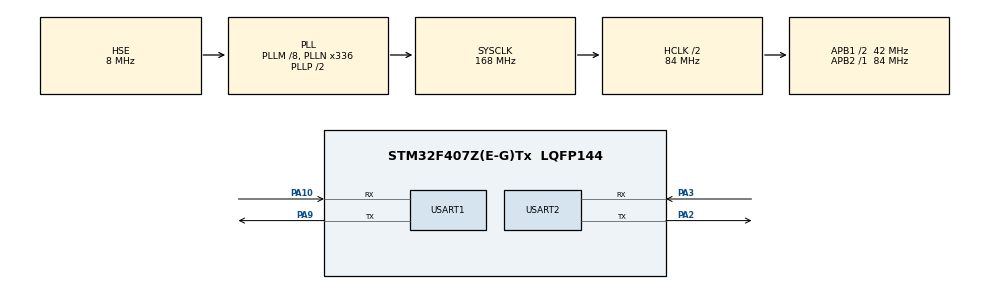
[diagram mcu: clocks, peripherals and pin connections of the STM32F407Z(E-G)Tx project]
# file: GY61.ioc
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Mcu.Family=STM32F4
Mcu.Name=STM32F407Z(E-G)Tx
Mcu.Package=LQFP144
NVIC.PriorityGroup=NVIC_PRIORITYGROUP_4
NVIC.USART2_IRQn=true\:0\:0\:false\:false\:true\:true\:true
PA10.Mode=Asynchronous
PA10.Signal=USART1_RX
PA2.Mode=Asynchronous
PA2.Signal=USART2_TX
PA3.Mode=Asynchronous
PA3.Signal=USART2_RX
PA9.Mode=Asynchronous
PA9.Signal=USART1_TX
PH0-OSC_IN.Mode=HSE-External-Oscillator
PH0-OSC_IN.Signal=RCC_OSC_IN
PH1-OSC_OUT.Mode=HSE-External-Oscillator
PH1-OSC_OUT.Signal=RCC_OSC_OUT
ProjectManager.HeapSize=0x200
ProjectManager.StackSize=0x400
ProjectManager.TargetToolchain=MDK-ARM V5.27
RCC.48MHZClocksFreq_Value=84000000
RCC.AHBCLKDivider=RCC_SYSCLK_DIV2
RCC.AHBFreq_Value=84000000
RCC.APB1CLKDivider=RCC_HCLK_DIV2
RCC.APB1Freq_Value=42000000
RCC.APB1TimFreq_Value=84000000
RCC.APB2Freq_Value=84000000
RCC.APB2TimFreq_Value=84000000
RCC.CortexFreq_Value=84000000
RCC.HCLKFreq_Value=84000000
RCC.HSE_VALUE=8000000
RCC.HSI_VALUE=16000000
RCC.LSE_VALUE=32768
RCC.PLLM=8
RCC.PLLN=336
RCC.PLLSourceVirtual=RCC_PLLSOURCE_HSE
RCC.SYSCLKFreq_VALUE=168000000
RCC.SYSCLKSource=RCC_SYSCLKSOURCE_PLLCLK
RCC.VCOOutputFreq_Value=336000000
USART1.VirtualMode=VM_ASYNC
USART2.VirtualMode=VM_ASYNC
board=custom

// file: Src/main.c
/* USER CODE BEGIN Header */
/**
  ******************************************************************************
  * @file           : main.c
  * @brief          : Main program body
  ******************************************************************************
  * @attention
  *
  * <h2><center>&copy; Copyright (c) 2020 STMicroelectronics.
  * All rights reserved.</center></h2>
  *
  * This software component is licensed by ST under BSD 3-Clause license,
  * the "License"; You may not use this file except in compliance with the
  * License. You may obtain a copy of the License at:
  *                        opensource.org/licenses/BSD-3-Clause
  *
  ******************************************************************************
  */
/* USER CODE END Header */

#include "main.h"
#include "usart.h"
#include "gpio.h"

/* USER CODE BEGIN Includes */
#include "JY61.h"
/* USER CODE END Includes */

/* USER CODE BEGIN PTD */
uint8_t aRxBuffer = 0;		//接收缓冲计数

/* USER CODE END PTD */

void SystemClock_Config(void);

int main(void)
{
  /* USER CODE BEGIN 1 */
	unsigned char i = 0;
  /* USER CODE END 1 */

  /* MCU Configuration--------------------------------------------------------*/

  /* Reset of all peripherals, Initializes the Flash interface and the Systick. */
  HAL_Init();

  /* Configure the system clock */
  SystemClock_Config();

  /* Initialize all configured peripherals */
  MX_GPIO_Init();
  MX_USART1_UART_Init();
  MX_USART2_UART_Init();
  /* USER CODE BEGIN 2 */
	HAL_UART_Receive_IT(&huart2, (uint8_t *)&aRxBuffer, 1);
	HAL_Delay(2000);
  /* USER CODE END 2 */

  /* Infinite loop */
  /* USER CODE BEGIN WHILE */
  while (1)
  {
		HAL_Delay(1000);
		i++;
		if(i>10)
		{
			i = 0;
			Send_CMD_Calibration();
		}
		printf("-----------------------------------\r\n");
		printf("Acc:%.3f %.3f %.3f\r\n",(float)stcAcc.a[0]/32768*16,(float)stcAcc.a[1]/32768*16,(float)stcAcc.a[2]/32768*16);
		HAL_Delay(10);
		//输出角速度
		printf("Gyro:%.3f %.3f %.3f\r\n",(float)stcGyro.w[0]/32768*2000,(float)stcGyro.w[1]/32768*2000,(float)stcGyro.w[2]/32768*2000);
		HAL_Delay(10);
		//输出角度
		printf("Angle:%.3f %.3f %.3f\r\n",(float)stcAngle.Angle[0]/32768*180,(float)stcAngle.Angle[1]/32768*180,(float)stcAngle.Angle[2]/32768*180);
    /* USER CODE END WHILE */

  }
}

void SystemClock_Config(void)
{
  RCC_OscInitTypeDef RCC_OscInitStruct = {0};
  RCC_ClkInitTypeDef RCC_ClkInitStruct = {0};

  /** Configure the main internal regulator output voltage
  */
  __HAL_RCC_PWR_CLK_ENABLE();
  __HAL_PWR_VOLTAGESCALING_CONFIG(PWR_REGULATOR_VOLTAGE_SCALE1);
  /** Initializes the CPU, AHB and APB busses clocks
  */
  RCC_OscInitStruct.OscillatorType = RCC_OSCILLATORTYPE_HSE;
  RCC_OscInitStruct.HSEState = RCC_HSE_ON;
  RCC_OscInitStruct.PLL.PLLState = RCC_PLL_ON;
  RCC_OscInitStruct.PLL.PLLSource = RCC_PLLSOURCE_HSE;
  RCC_OscInitStruct.PLL.PLLM = 8;
  RCC_OscInitStruct.PLL.PLLN = 336;
  RCC_OscInitStruct.PLL.PLLP = RCC_PLLP_DIV2;
  RCC_OscInitStruct.PLL.PLLQ = 4;
  if (HAL_RCC_OscConfig(&RCC_OscInitStruct) != HAL_OK)
  {
    Error_Handler();
  }
  /** Initializes the CPU, AHB and APB busses clocks
  */
  RCC_ClkInitStruct.ClockType = RCC_CLOCKTYPE_HCLK|RCC_CLOCKTYPE_SYSCLK
                              |RCC_CLOCKTYPE_PCLK1|RCC_CLOCKTYPE_PCLK2;
  RCC_ClkInitStruct.SYSCLKSource = RCC_SYSCLKSOURCE_PLLCLK;
  RCC_ClkInitStruct.AHBCLKDivider = RCC_SYSCLK_DIV2;
  RCC_ClkInitStruct.APB1CLKDivider = RCC_HCLK_DIV2;
  RCC_ClkInitStruct.APB2CLKDivider = RCC_HCLK_DIV1;

  if (HAL_RCC_ClockConfig(&RCC_ClkInitStruct, FLASH_LATENCY_2) != HAL_OK)
  {
    Error_Handler();
  }
}

/* USER CODE BEGIN 4 */
void HAL_UART_RxCpltCallback(UART_HandleTypeDef *huart)
{
	UNUSED(huart);
	if(huart==&huart2)
	{
		CopeSerial2Data(aRxBuffer);

		HAL_UART_Receive_IT(&huart2, (uint8_t *)&aRxBuffer, 1);   //再开启接收中断
	}
}
/* USER CODE END 4 */

void Error_Handler(void)
{
}

/************************ (C) COPYRIGHT STMicroelectronics *****END OF FILE****/
